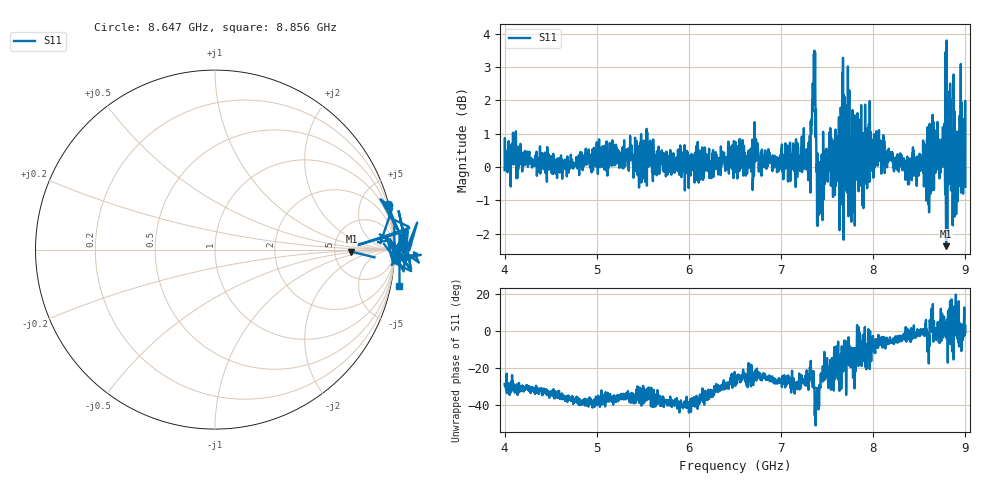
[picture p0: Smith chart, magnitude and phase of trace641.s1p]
! Created with skrf 1.8.0 (http://scikit-rf.org).
# Hz S RI R 50.0
!freq ReS11 ImS11
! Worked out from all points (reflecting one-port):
!   1601 points, 4 GHz to 9 GHz, reference 50 ohm
!   lowest |S11| = -2.4 dB at 8.791 GHz (marker M1), VSWR 7.35, Z = 366 - j20.3 ohm
!   phase of S11 starts at -29 deg and turns +31 deg over the sweep
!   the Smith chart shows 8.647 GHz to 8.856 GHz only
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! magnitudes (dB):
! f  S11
! 4 GHz  -0.1
! 4.1 GHz  0.3
! 4.625 GHz  -0.4
! 5.25 GHz  0.4
! 5.875 GHz  0.1
! 6.5 GHz  0.4
! 7.125 GHz  0.4
! 7.294 GHz  -0.4
! 7.353 GHz  1.9
! 7.369 GHz  3.4
! 7.409 GHz  -0.8
! 7.509 GHz  0.0
! 7.619 GHz  0.9
! 7.669 GHz  1.5
! 7.75 GHz  0.0
! 7.784 GHz  -0.5
! 7.844 GHz  0.8
! 7.875 GHz  0.0
! 8.056 GHz  0.5
! 8.375 GHz  -0.3
! 8.566 GHz  -0.1
! 8.612 GHz  1.3
! 8.666 GHz  0.9
! 8.791 GHz  -2.4
! 8.819 GHz  -0.5
! 8.906 GHz  0.7
! 8.972 GHz  0.8
! 9 GHz  -0.6
